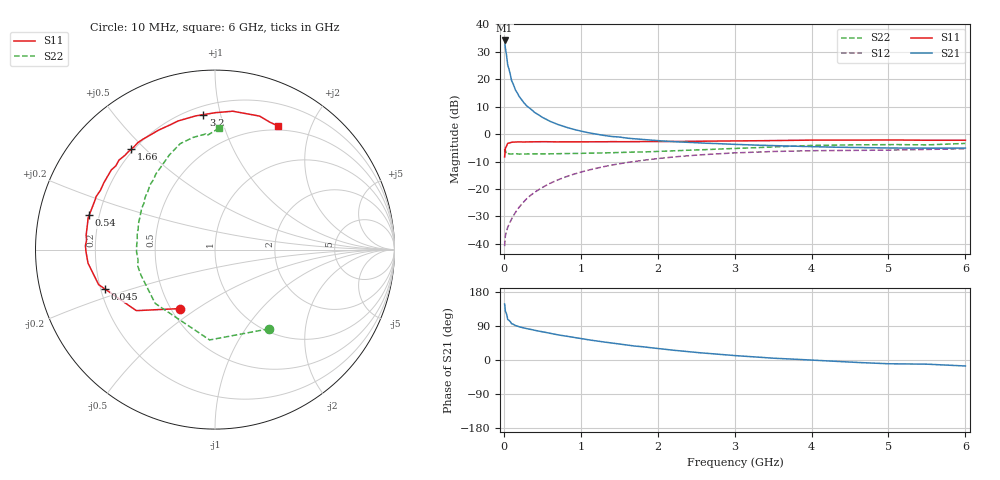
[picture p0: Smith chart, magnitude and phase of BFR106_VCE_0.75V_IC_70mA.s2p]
! Infineon Technologies  Discrete & RF Semiconductors
! BFR106
! VCE = 0.75 V,  IC =  70 mA
! Common Emitter S-Parameters:  Nov 2015
# GHz  S  MA  R  50
!  f  S11  S21  S12  S22
! GHz  MAG  ANG  MAG  ANG  MAG  ANG  MAG  ANG
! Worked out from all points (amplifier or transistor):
!   210 points, 10 MHz to 6 GHz, reference 50 ohm
!   highest |S21| = 34.1 dB at 10 MHz (marker M1)
!   |S21| within 3 dB of that: start of sweep to 21.81 MHz
!   unconditionally stable (mu >= 1): 89.01 MHz to end of sweep
!   at 185 MHz: K = 1.21, MAG = 18.0 dB, |S12| = -27.2 dB
!   at 1.52 GHz: K = 1.18, MAG = 2.2 dB, |S12| = -10.7 dB
!   at 6 GHz: K = 1.04, MAG = -1.0 dB, |S12| = -5.3 dB
!   S11 on the Smith chart (normalised r, x): 10 MHz: 0.55, -0.43; 45 MHz: 0.22, -0.16; 540 MHz: 0.16, +0.13; 1.66 GHz: 0.19, +0.46; 3.2 GHz: 0.25, +0.89; 6 GHz: 0.45, +1.54
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0.01  0.3836 -121.0  50.77 147.8  0.0091 62.8  0.5342 -55.7
0.02  0.5548 -142.2  37.2 128.7  0.0141 51.1  0.5042 -93.4
0.045  0.6515 -160.4  21.09 113.2  0.019 48.7  0.4373 -130.2
0.05  0.6773 -163.3  18.25 106.9  0.02 48.4  0.4482 -138.0
0.1  0.7115 -173.9  9.488 96.0  0.0282 57.1  0.4361 -159.9
0.15  0.7188 -178.9  6.391 91.0  0.0373 62.9  0.4401 -167.9
0.2  0.7223 178.2  4.84 87.5  0.0468 66.1  0.4325 -172.5
0.24  0.718 176.2  4.051 85.4  0.0545 67.3  0.4344 -175.4
0.26  0.7181 175.3  3.732 84.3  0.0586 67.9  0.4355 -176.5
0.3  0.7224 173.6  3.241 82.5  0.0672 68.9  0.4371 -178.2
0.4  0.7235 169.2  2.482 78.3  0.0869 69.5  0.4374 178.0
0.54  0.7265 164.6  1.895 73.0  0.1146 68.5  0.4362 173.9
0.7  0.7222 158.6  1.502 66.4  0.146 66.5  0.4405 170.2
1.02  0.7229 148.3  1.118 56.1  0.2067 60.9  0.4465 163.1
1.3  0.7231 139.8  0.947 47.4  0.2559 55.3  0.4543 157.0
1.66  0.7283 129.7  0.83 37.9  0.3123 48.2  0.4694 149.8
2.02  0.7328 120.3  0.757 30.0  0.361 41.0  0.4869 142.8
3.1  0.7533 96.6  0.643 10.4  0.4596 21.6  0.5538 122.3
3.2  0.7548 94.9  0.636 9.0  0.4649 20.0  0.5609 120.6
4.1  0.7767 81.5  0.587 -1.2  0.4995 7.2  0.6239 106.7
5.1  0.7815 70.6  0.558 -10.1  0.514 -3.4  0.6442 94.5
6  0.7729 62.9  0.557 -15.8  0.541 -11.4  0.6773 88.1
